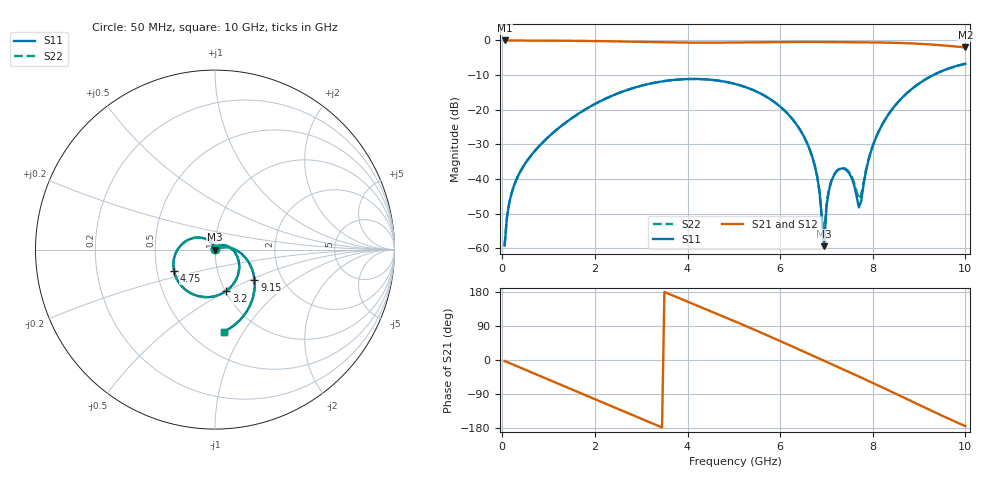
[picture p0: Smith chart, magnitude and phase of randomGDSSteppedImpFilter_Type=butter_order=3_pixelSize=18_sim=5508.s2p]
! freq	dB(S11)	phase(S11)	dB(S12)	phase(S12)
!  dB(S21)	phase(S21)	dB(S22)	phase(S22)
!S-par simulation data
#  GHz  S  DB  R 50
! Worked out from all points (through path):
!   200 points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, 50 MHz to 10 GHz, reference 50 ohm
!   highest |S21| = -0.01 dB at 50 MHz (marker M1); lowest = -2.0 dB at 10 GHz (marker M2)
!   group delay of S21, straight-line fit = 148 ps
!   lowest |S11| = -59.4 dB at 6.95 GHz (marker M3), VSWR 1.00, Z = 49.9 - j0.0876 ohm
!   |S11| at or under -10 dB: start of sweep to 9.307 GHz
!   |S22| runs from -59.2 to -6.7 dB; largest |S21 - S12| = 0
!   S11 on the Smith chart (normalised r, x): 50 MHz: 1.00, +0.00; 3.2 GHz: 1.01, -0.49; 4.75 GHz: 0.61, -0.16; 9.15 GHz: 1.45, -0.53; 10 GHz: 0.71, -0.82
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0.05  -59.25 49.8  -0.01 -2.7  -0.01 -2.7  -59.25 49.7
0.15  -46.94 65.5  -0.02 -7.8  -0.02 -7.8  -46.93 65.5
0.4  -37.60 65.1  -0.03 -20.7  -0.03 -20.7  -37.60 65.0
1.1  -26.62 33.8  -0.08 -56.8  -0.08 -56.8  -26.62 33.7
1.75  -20.27 0.3  -0.14 -90.4  -0.14 -90.4  -20.27 0.1
2.4  -15.81 -33.5  -0.26 -124.1  -0.26 -124.1  -15.81 -33.7
3.2  -12.45 -74.7  -0.46 -165.2  -0.46 -165.2  -12.45 -74.9
3.4  -11.94 -84.8  -0.51 -175.4  -0.51 -175.4  -11.94 -85.0
4.75  -11.79 -152.6  -0.63 116.1  -0.63 116.1  -11.79 -152.9
5.05  -12.65 -167.8  -0.60 100.6  -0.60 100.6  -12.65 -168.2
6.1  -20.31 137.4  -0.45 44.6  -0.45 44.6  -20.32 136.5
6.7  -33.88 106.8  -0.45 11.7  -0.45 11.7  -33.92 102.5
6.85  -43.62 101.6  -0.46 3.4  -0.46 3.4  -43.70 88.5
6.95  -59.41 -125.0  -0.46 -2.1  -0.46 -2.1  -56.35 -35.4
7  -48.06 -95.8  -0.47 -4.8  -0.47 -4.8  -47.51 -74.7
7.15  -39.24 -98.7  -0.48 -13.1  -0.48 -13.1  -39.07 -91.3
7.45  -37.68 -108.7  -0.51 -29.7  -0.51 -29.7  -37.45 -102.9
7.7  -48.23 -60.3  -0.54 -43.6  -0.54 -43.6  -45.76 -56.2
7.95  -32.53 21.5  -0.57 -57.7  -0.57 -57.7  -32.42 18.5
8.35  -21.14 6.2  -0.65 -80.5  -0.65 -80.5  -21.14 5.4
9.15  -11.15 -37.4  -1.08 -127.0  -1.08 -127.0  -11.15 -37.6
10  -6.74 -84.0  -2.00 -174.7  -2.00 -174.7  -6.74 -84.1
